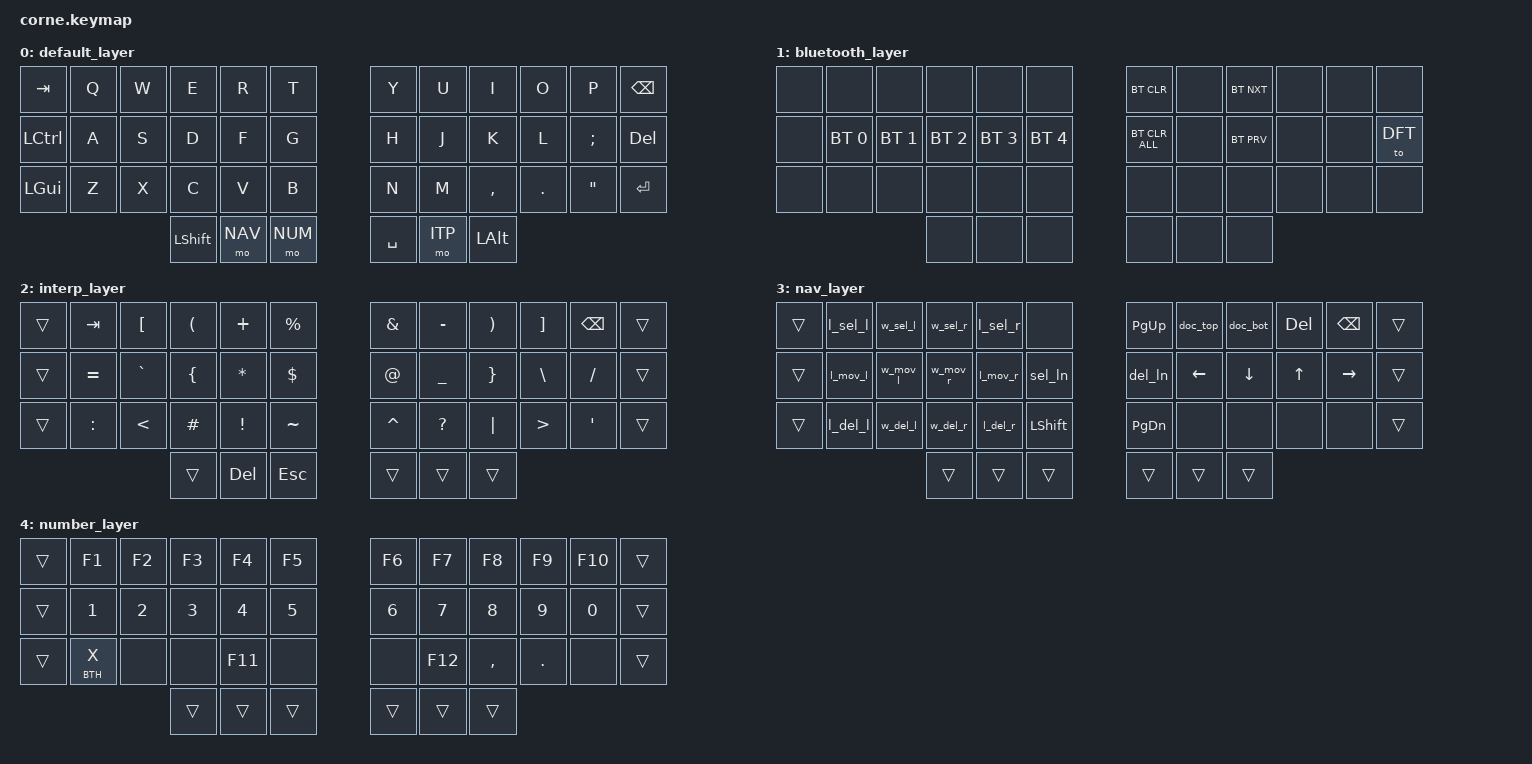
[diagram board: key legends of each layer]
/*
 * Copyright (c) 2020 The ZMK Contributors
 *
 * SPDX-License-Identifier: MIT
 */

#include <behaviors.dtsi>
#include <dt-bindings/zmk/keys.h>
#include <dt-bindings/zmk/bt.h>
#define DFT 0
#define BTH 1
#define ITP 2
#define NAV 3
#define NUM 4
/* todo
    copy, paste, cut
    media controls
    bluetooth
    editor shortcuts
*/


/ {
    #include "shortcut_macros.dtsi"
    #include "nav_macros.dtsi"
    #include "combos.dtsi"
    
    behaviors {
        ht: hold_tap {
            compatible = "zmk,behavior-hold-tap";
            #binding-cells = <2>;
            bindings = <&tog>, <&kp>;
            flavor = "tap-preferred";
            tapping-term-ms = <500>;
            display-name = "Hold-Tap";
        };
    };
    
    keymap {
        compatible = "zmk,keymap";

        default_layer {
            bindings = <
                /*  0         1     2     3         4       6         6         7       8         9       10       11 */
                &kp TAB   &kp Q &kp W &kp E     &kp R   &kp T     &kp Y     &kp U   &kp I     &kp O   &kp P    &kp BSPC
                /*  12        13    14    15        16      17        18        19      20        21      22       23 */
                &kp LCTRL &kp A &kp S &kp D     &kp F   &kp G     &kp H     &kp J   &kp K     &kp L   &kp SEMI &kp DEL
                /*  24        25    26    27        28      29        30        31      32        33      34       35 */
                &kp LGUI  &kp Z &kp X &kp C     &kp V   &kp B     &kp N     &kp M   &kp COMMA &kp DOT &kp DQT  &kp ENTER
                                      /*  36        37      38        39        40      41 */
                                      &kp LSHFT &mo NAV &mo NUM   &kp SPACE &mo ITP &kp LALT
           >;
        };
        
        
        bluetooth_layer {
            bindings = <
                &none &none        &none        &none        &none        &none          &bt BT_CLR     &none &bt BT_NXT &none &none &none
                &none &bt BT_SEL 0 &bt BT_SEL 1 &bt BT_SEL 2 &bt BT_SEL 3 &bt BT_SEL 4   &bt BT_CLR_ALL &none &bt BT_PRV &none &none &to DFT
                &none &none        &none        &none        &none        &none          &none          &none &none      &none &none &none
                                                &none        &none        &none          &none          &none &none
           >;
        };

        interp_layer {
            bindings = <
                &trans &kp TAB   &kp LBKT  &kp LPAR &kp PLUS  &kp PRCNT   &kp AMPS  &kp MINUS &kp RPAR &kp RBKT &kp BSPC &trans 
                &trans &kp EQUAL &kp GRAVE &kp LBRC &kp ASTRK &kp DLLR    &kp AT    &kp UNDER &kp RBRC &kp BSLH &kp FSLH &trans 
                &trans &kp COLON &kp LT    &kp HASH &kp EXCL  &kp TILDE   &kp CARET &kp QMARK &kp PIPE &kp GT   &kp SQT  &trans 
                                           &trans   &kp DEL   &kp ESC     &trans    &trans    &trans
           >;
        };
        
        nav_layer {
            bindings = <
                &trans &l_sel_l &w_sel_l &w_sel_r &l_sel_r &none      &kp PG_UP &doc_top &doc_bot &kp DEL &kp BSPC  &trans 
                &trans &l_mov_l &w_mov_l &w_mov_r &l_mov_r &sel_ln    &del_ln   &kp LEFT &kp DOWN &kp UP  &kp RIGHT &trans 
                &trans &l_del_l &w_del_l &w_del_r &l_del_r &kp LSHFT  &kp PG_DN &none    &none    &none   &none     &trans 
                                         &trans    &trans   &trans    &trans    &trans   &trans
           >;
        };

        number_layer {
            bindings = <
                &trans &kp F1     &kp F2  &kp F3 &kp F4  &kp F5    &kp F6 &kp F7  &kp F8    &kp F9  &kp F10 &trans 
                &trans &kp N1     &kp N2  &kp N3 &kp N4  &kp N5    &kp N6 &kp N7  &kp N8    &kp N9  &kp N0  &trans
                &trans &ht BTH X  &none   &none  &kp F11 &none     &none  &kp F12 &kp COMMA &kp DOT &none   &trans 
                                          &trans &trans  &trans    &trans &trans  &trans
           >;
        };
    };
};
